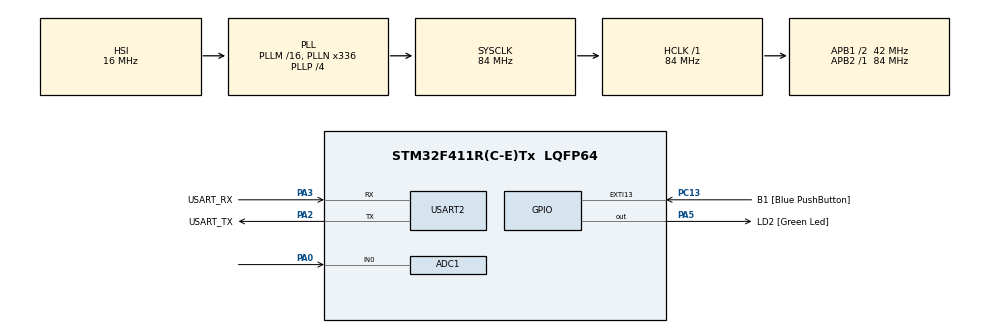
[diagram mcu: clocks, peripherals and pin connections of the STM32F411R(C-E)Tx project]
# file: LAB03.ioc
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ADC1.Channel-0\#ChannelRegularConversion=ADC_CHANNEL_0
ADC1.NbrOfConversionFlag=1
ADC1.Rank-0\#ChannelRegularConversion=1
ADC1.SamplingTime-0\#ChannelRegularConversion=ADC_SAMPLETIME_3CYCLES
ADC1.master=1
Mcu.Family=STM32F4
Mcu.Name=STM32F411R(C-E)Tx
Mcu.Package=LQFP64
NVIC.PriorityGroup=NVIC_PRIORITYGROUP_0
PA0-WKUP.Signal=ADCx_IN0
PA13.GPIO_Label=TMS
PA13.Mode=Serial_Wire
PA13.Signal=SYS_JTMS-SWDIO
PA14.GPIO_Label=TCK
PA14.Mode=Serial_Wire
PA14.Signal=SYS_JTCK-SWCLK
PA2.GPIO_Label=USART_TX
PA2.Mode=Asynchronous
PA2.Signal=USART2_TX
PA3.GPIO_Label=USART_RX
PA3.Mode=Asynchronous
PA3.Signal=USART2_RX
PA5.GPIO_Label=LD2 [Green Led]
PA5.Signal=GPIO_Output
PB3.GPIO_Label=SWO
PB3.Signal=SYS_JTDO-SWO
PC13-ANTI_TAMP.GPIO_Label=B1 [Blue PushButton]
PC13-ANTI_TAMP.GPIO_ModeDefaultEXTI=GPIO_MODE_IT_FALLING
PC13-ANTI_TAMP.Signal=GPXTI13
PC14-OSC32_IN.Mode=LSE-External-Oscillator
PC14-OSC32_IN.Signal=RCC_OSC32_IN
PC15-OSC32_OUT.Mode=LSE-External-Oscillator
PC15-OSC32_OUT.Signal=RCC_OSC32_OUT
PH0\ -\ OSC_IN.Mode=HSE-External-Clock-Source
PH0\ -\ OSC_IN.Signal=RCC_OSC_IN
PH1\ -\ OSC_OUT.Mode=HSE-External-Clock-Source
PH1\ -\ OSC_OUT.Signal=RCC_OSC_OUT
ProjectManager.HeapSize=0x200
ProjectManager.StackSize=0x400
ProjectManager.TargetToolchain=STM32CubeIDE
RCC.48MHZClocksFreq_Value=84000000
RCC.AHBFreq_Value=84000000
RCC.APB1CLKDivider=RCC_HCLK_DIV2
RCC.APB1Freq_Value=42000000
RCC.APB1TimFreq_Value=84000000
RCC.APB2Freq_Value=84000000
RCC.APB2TimFreq_Value=84000000
RCC.CortexFreq_Value=84000000
RCC.FLatency-AdvancedSettings=FLASH_LATENCY_2
RCC.HCLKFreq_Value=84000000
RCC.HSE_VALUE=8000000
RCC.HSI_VALUE=16000000
RCC.PLLN=336
RCC.PLLP=RCC_PLLP_DIV4
RCC.SYSCLKFreq_VALUE=84000000
RCC.SYSCLKSource=RCC_SYSCLKSOURCE_PLLCLK
RCC.VCOOutputFreq_Value=336000000
SH.ADCx_IN0.0=ADC1_IN0,IN0
USART2.VirtualMode=VM_ASYNC
VP_ADC1_TempSens_Input.Mode=IN-TempSens
board=NUCLEO-F411RE

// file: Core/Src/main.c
/* USER CODE BEGIN Header */
/**
 ******************************************************************************
 * @file           : main.c
 * @brief          : Main program body
 ******************************************************************************
 * @attention
 *
 * <h2><center>&copy; Copyright (c) 2021 STMicroelectronics.
 * All rights reserved.</center></h2>
 *
 * This software component is licensed by ST under BSD 3-Clause license,
 * the "License"; You may not use this file except in compliance with the
 * License. You may obtain a copy of the License at:
 *                        opensource.org/licenses/BSD-3-Clause
 *
 ******************************************************************************
 */
/* USER CODE END Header */
#include "main.h"

ADC_HandleTypeDef hadc1;

UART_HandleTypeDef huart2;

/* USER CODE BEGIN PV */
int ADCMode = 0;
float ADCOutputConverted;
int V25 = 760;//datasheet 0.76v --> 760 mv
float Avg_Slope = 2.5;//datasheet
typedef struct {
	ADC_ChannelConfTypeDef Config;
	uint32_t data;
} ADCStructure;

ADCStructure ADCChannel[2] = { 0 };

/* USER CODE END PV */

void SystemClock_Config(void);
static void MX_GPIO_Init(void);
static void MX_USART2_UART_Init(void);
static void MX_ADC1_Init(void);
/* USER CODE BEGIN PFP */
void ADCMethod();
void ADCNow();
/* USER CODE END PFP */

int main(void) {

	/* MCU Configuration--------------------------------------------------------*/

	/* Reset of all peripherals, Initializes the Flash interface and the Systick. */
	HAL_Init();

	/* Configure the system clock */
	SystemClock_Config();

	/* Initialize all configured peripherals */
	MX_GPIO_Init();
	MX_USART2_UART_Init();
	MX_ADC1_Init();
	/* USER CODE BEGIN 2 */
	ADCMethod();

	/* USER CODE END 2 */

	/* Infinite loop */
	while (1) {

		/* USER CODE BEGIN 3 */

		ADCNow();
	}
	/* USER CODE END 3 */
}

void SystemClock_Config(void) {
	RCC_OscInitTypeDef RCC_OscInitStruct = { 0 };
	RCC_ClkInitTypeDef RCC_ClkInitStruct = { 0 };

	/** Configure the main internal regulator output voltage
	 */
	__HAL_RCC_PWR_CLK_ENABLE();
	__HAL_PWR_VOLTAGESCALING_CONFIG(PWR_REGULATOR_VOLTAGE_SCALE1);
	/** Initializes the RCC Oscillators according to the specified parameters
	 * in the RCC_OscInitTypeDef structure.
	 */
	RCC_OscInitStruct.OscillatorType = RCC_OSCILLATORTYPE_HSI;
	RCC_OscInitStruct.HSIState = RCC_HSI_ON;
	RCC_OscInitStruct.HSICalibrationValue = RCC_HSICALIBRATION_DEFAULT;
	RCC_OscInitStruct.PLL.PLLState = RCC_PLL_ON;
	RCC_OscInitStruct.PLL.PLLSource = RCC_PLLSOURCE_HSI;
	RCC_OscInitStruct.PLL.PLLM = 16;
	RCC_OscInitStruct.PLL.PLLN = 336;
	RCC_OscInitStruct.PLL.PLLP = RCC_PLLP_DIV4;
	RCC_OscInitStruct.PLL.PLLQ = 4;
	if (HAL_RCC_OscConfig(&RCC_OscInitStruct) != HAL_OK) {
		Error_Handler();
	}
	/** Initializes the CPU, AHB and APB buses clocks
	 */
	RCC_ClkInitStruct.ClockType = RCC_CLOCKTYPE_HCLK | RCC_CLOCKTYPE_SYSCLK
			| RCC_CLOCKTYPE_PCLK1 | RCC_CLOCKTYPE_PCLK2;
	RCC_ClkInitStruct.SYSCLKSource = RCC_SYSCLKSOURCE_PLLCLK;
	RCC_ClkInitStruct.AHBCLKDivider = RCC_SYSCLK_DIV1;
	RCC_ClkInitStruct.APB1CLKDivider = RCC_HCLK_DIV2;
	RCC_ClkInitStruct.APB2CLKDivider = RCC_HCLK_DIV1;

	if (HAL_RCC_ClockConfig(&RCC_ClkInitStruct, FLASH_LATENCY_2) != HAL_OK) {
		Error_Handler();
	}
}

static void MX_ADC1_Init(void) {

	ADC_ChannelConfTypeDef sConfig = { 0 };

	/** Configure the global features of the ADC (Clock, Resolution, Data Alignment and number of conversion)
	 */
	hadc1.Instance = ADC1;
	hadc1.Init.ClockPrescaler = ADC_CLOCK_SYNC_PCLK_DIV4;
	hadc1.Init.Resolution = ADC_RESOLUTION_12B;
	hadc1.Init.ScanConvMode = DISABLE;
	hadc1.Init.ContinuousConvMode = DISABLE;
	hadc1.Init.DiscontinuousConvMode = DISABLE;
	hadc1.Init.ExternalTrigConvEdge = ADC_EXTERNALTRIGCONVEDGE_NONE;
	hadc1.Init.ExternalTrigConv = ADC_SOFTWARE_START;
	hadc1.Init.DataAlign = ADC_DATAALIGN_RIGHT;
	hadc1.Init.NbrOfConversion = 1;
	hadc1.Init.DMAContinuousRequests = DISABLE;
	hadc1.Init.EOCSelection = ADC_EOC_SINGLE_CONV;
	if (HAL_ADC_Init(&hadc1) != HAL_OK) {
		Error_Handler();
	}
	/** Configure for the selected ADC regular channel its corresponding rank in the sequencer and its sample time.
	 */
	sConfig.Channel = ADC_CHANNEL_0;
	sConfig.Rank = 1;
	sConfig.SamplingTime = ADC_SAMPLETIME_3CYCLES;
	if (HAL_ADC_ConfigChannel(&hadc1, &sConfig) != HAL_OK) {
		Error_Handler();
	}

}

static void MX_USART2_UART_Init(void) {

	huart2.Instance = USART2;
	huart2.Init.BaudRate = 115200;
	huart2.Init.WordLength = UART_WORDLENGTH_8B;
	huart2.Init.StopBits = UART_STOPBITS_1;
	huart2.Init.Parity = UART_PARITY_NONE;
	huart2.Init.Mode = UART_MODE_TX_RX;
	huart2.Init.HwFlowCtl = UART_HWCONTROL_NONE;
	huart2.Init.OverSampling = UART_OVERSAMPLING_16;
	if (HAL_UART_Init(&huart2) != HAL_OK) {
		Error_Handler();
	}

}

static void MX_GPIO_Init(void) {
	GPIO_InitTypeDef GPIO_InitStruct = { 0 };

	/* GPIO Ports Clock Enable */
	__HAL_RCC_GPIOC_CLK_ENABLE();
	__HAL_RCC_GPIOH_CLK_ENABLE();
	__HAL_RCC_GPIOA_CLK_ENABLE();
	__HAL_RCC_GPIOB_CLK_ENABLE();

	/*Configure GPIO pin Output Level */
	HAL_GPIO_WritePin(LD2_GPIO_Port, LD2_Pin, GPIO_PIN_RESET);

	/*Configure GPIO pin : B1_Pin */
	GPIO_InitStruct.Pin = B1_Pin;
	GPIO_InitStruct.Mode = GPIO_MODE_IT_FALLING;
	GPIO_InitStruct.Pull = GPIO_NOPULL;
	HAL_GPIO_Init(B1_GPIO_Port, &GPIO_InitStruct);

	/*Configure GPIO pin : LD2_Pin */
	GPIO_InitStruct.Pin = LD2_Pin;
	GPIO_InitStruct.Mode = GPIO_MODE_OUTPUT_PP;
	GPIO_InitStruct.Pull = GPIO_NOPULL;
	GPIO_InitStruct.Speed = GPIO_SPEED_FREQ_LOW;
	HAL_GPIO_Init(LD2_GPIO_Port, &GPIO_InitStruct);

}

/* USER CODE BEGIN 4 */
void ADCMethod()
{
	ADCChannel[0].Config.Channel = ADC_CHANNEL_0;
	ADCChannel[0].Config.Rank = 1;
	ADCChannel[0].Config.SamplingTime = ADC_SAMPLETIME_3CYCLES;

	ADCChannel[1].Config.Channel = ADC_CHANNEL_TEMPSENSOR;
	ADCChannel[1].Config.Rank = 1;
	ADCChannel[1].Config.SamplingTime = ADC_SAMPLETIME_3CYCLES;
}

void ADCNow()
{
	GPIO_PinState Switch[2];
	Switch[0]=HAL_GPIO_ReadPin(GPIOC, GPIO_PIN_13);
	if(Switch[0]== 0 && Switch[1]==1)
	{
		if(ADCMode == 0)
		{
			ADCMode = 1;
			HAL_ADC_ConfigChannel(&hadc1, &ADCChannel[1].Config);//select channel
			HAL_ADC_Start(&hadc1);//Start
			HAL_ADC_PollForConversion(&hadc1, 1);//wait
			ADCChannel[1].data = HAL_ADC_GetValue(&hadc1);//Getvalue
			HAL_ADC_Stop(&hadc1);//stop
			ADCChannel[0].data = 0;
			ADCOutputConverted = (((((ADCChannel[1].data *3.3)/4096)*1000) - V25)/Avg_Slope)+ 25;
		}
		else
		{
			ADCMode = 0;
			HAL_ADC_ConfigChannel(&hadc1, &ADCChannel[0].Config);//select channel
			HAL_ADC_Start(&hadc1);//Start
			HAL_ADC_PollForConversion(&hadc1, 1);//wait
			ADCChannel[0].data = HAL_ADC_GetValue(&hadc1);//Getvalue
			HAL_ADC_Stop(&hadc1);//stop
			ADCOutputConverted = (((ADCChannel[0].data *3.3)/4096)*1000);
			ADCChannel[1].data = 0;
		}
	}
	Switch[1]=Switch[0];

}

/* USER CODE END 4 */

void Error_Handler(void) {
	__disable_irq();
	while (1) {
	}
}

/************************ (C) COPYRIGHT STMicroelectronics *****END OF FILE****/
